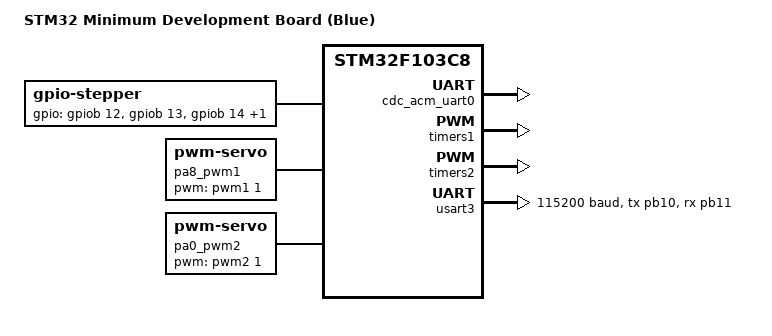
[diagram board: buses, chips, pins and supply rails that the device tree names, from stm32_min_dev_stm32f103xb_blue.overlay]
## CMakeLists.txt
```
# SPDX-License-Identifier: Apache-2.0

cmake_minimum_required(VERSION 3.20.0)
find_package(Zephyr REQUIRED HINTS $ENV{ZEPHYR_BASE})
project(vanchor_motor_driver)

include(${ZEPHYR_BASE}/samples/subsys/usb/common/common.cmake)

FILE(GLOB app_sources src/*.c)
target_sources(app PRIVATE ${app_sources})
```

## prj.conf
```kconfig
CONFIG_STDOUT_CONSOLE=y
CONFIG_USB_DEVICE_STACK=y
CONFIG_USB_DEVICE_PRODUCT="Zephyr CDC ACM sample"
CONFIG_USB_DEVICE_PID=0x0001
CONFIG_LOG=y
CONFIG_USB_DRIVER_LOG_LEVEL_ERR=y
CONFIG_USB_DEVICE_LOG_LEVEL_ERR=y
CONFIG_SERIAL=y
CONFIG_UART_INTERRUPT_DRIVEN=y
CONFIG_UART_LINE_CTRL=y
CONFIG_USB_DEVICE_INITIALIZE_AT_BOOT=n
CONFIG_STDOUT_CONSOLE=y
CONFIG_PWM_LOG_LEVEL_DBG=y
CONFIG_PRINTK=y
CONFIG_PWM=y
CONFIG_STEPPER=y
CONFIG_STEPPER_INIT_PRIORITY=90
CONFIG_GPIO_STEPPER=y
```

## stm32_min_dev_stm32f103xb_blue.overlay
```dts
/*
 * Copyright (c) 2017, embedjournal.com
 *
 * SPDX-License-Identifier: Apache-2.0
 */

/ {
	model = "STM32 Minimum Development Board (Blue)";
	compatible = "stm32_min_dev_blue", "st,stm32f103c8";

	aliases {
		pa8-pwm1 = &pa8_pwm1;
		pa0-pwm2 = &pa0_pwm2;
		stepper = &stepper;
	};

	chosen {
		zephyr,console = &usart3;
		zephyr,shell-uart = &usart3;
	};

	stepper: stepper {
		compatible = "gpio-stepper";
		status = "okay";
		gpios = <&gpiob 12 GPIO_ACTIVE_HIGH>,
			<&gpiob 13 GPIO_ACTIVE_HIGH>,
			<&gpiob 14 GPIO_ACTIVE_HIGH>,
			<&gpiob 15 GPIO_ACTIVE_HIGH>;
	};

	pa8_pwm1: pa8_pwm1 {
		compatible = "pwm-servo";
		pwms = <&pwm1 1 PWM_MSEC(20) PWM_POLARITY_NORMAL>;
		min-pulse = <PWM_USEC(700)>;
		max-pulse = <PWM_USEC(2500)>;
	};

	pa0_pwm2: pa0_pwm2 {
		compatible = "pwm-servo";
		pwms = <&pwm2 1 PWM_MSEC(20) PWM_POLARITY_NORMAL>;
		min-pulse = <PWM_USEC(700)>;
		max-pulse = <PWM_USEC(2500)>;
	};
};

&zephyr_udc0 {
	cdc_acm_uart0 {
		compatible = "zephyr,cdc-acm-uart";
	};
};

&timers1 {
	st,prescaler = <1000>;
	status = "okay";

	pwm1: pwm {
		compatible = "st,stm32-pwm";
		status = "okay";
		pinctrl-0 = <&tim1_ch1_pwm_out_pa8>;
		pinctrl-names = "default";
	};
};

&timers2 {
	st,prescaler = <1000>;
	status = "okay";

	pwm2: pwm {
		compatible = "st,stm32-pwm";
		status = "okay";
		pinctrl-0 = <&tim2_ch1_pwm_out_pa0>;
		pinctrl-names = "default";
	};
};

&usart3 {
	pinctrl-0 = <&usart3_tx_pb10 &usart3_rx_pb11>;
	pinctrl-names = "default";
	current-speed = <115200>;
	status = "okay";
};
```

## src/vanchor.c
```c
/*
 * Copyright (c) 2019 Intel Corporation
 *
 * SPDX-License-Identifier: Apache-2.0
 */

/**
 * @file
 * @brief Sample echo app for CDC ACM class
 *
 * Sample app for USB CDC ACM class driver. The received data is echoed back
 * to the serial port.
 */

#include <sample_usbd.h>

#include <stdio.h>
#include <stdlib.h>
#include <string.h>
#include <stdbool.h>
#include <zephyr/device.h>
#include <zephyr/drivers/pwm.h>
#include <zephyr/drivers/stepper.h>
#include <zephyr/drivers/uart.h>
#include <zephyr/kernel.h>
#include <zephyr/sys/printk.h>
#include <zephyr/sys/ring_buffer.h>

#include <zephyr/usb/usb_device.h>
#include <zephyr/usb/usbd.h>
#include <zephyr/logging/log.h>

#include "vanchor.h"

LOG_MODULE_REGISTER(vanchor, LOG_LEVEL_INF);

/* DC/Stepper motors */
static vanchor_motors_handler_t mot_hdlr;

#if !DT_NODE_HAS_STATUS(DT_ALIAS(stepper), okay)
#error "Unsupported board: pa8_pwm1 devicetree alias is not defined"
#endif
const struct device *const stepper = DEVICE_DT_GET(DT_ALIAS(stepper));

/* Servo motor pwm */
#if !DT_NODE_HAS_STATUS(DT_ALIAS(pa8_pwm1), okay)
#error "Unsupported board: pa8_pwm1 devicetree alias is not defined"
#endif
const struct pwm_dt_spec pa8_pwm1 = PWM_DT_SPEC_GET(DT_ALIAS(pa8_pwm1));
__maybe_unused static const uint32_t pa8_min_pulse = DT_PROP(DT_ALIAS(pa8_pwm1), min_pulse);
__maybe_unused static const uint32_t pa8_max_pulse = DT_PROP(DT_ALIAS(pa8_pwm1), max_pulse);

#if !DT_NODE_HAS_STATUS(DT_ALIAS(pa0_pwm2), okay)
#error "Unsupported board: pa0_pwm2 devicetree alias is not defined"
#endif
const struct pwm_dt_spec pa0_pwm2 = PWM_DT_SPEC_GET(DT_ALIAS(pa0_pwm2));
__maybe_unused static const uint32_t pa0_min_pulse = DT_PROP(DT_ALIAS(pa0_pwm2), min_pulse);
__maybe_unused static const uint32_t pa0_max_pulse = DT_PROP(DT_ALIAS(pa0_pwm2), max_pulse);

#define STEP PWM_USEC(100)

enum direction {
	DOWN,
	UP,
};

/* USB CDC */
#define RING_BUF_SIZE 1024

const struct device *const uart_dev = DEVICE_DT_GET_ONE(zephyr_cdc_acm_uart);

uint8_t ring_buffer[RING_BUF_SIZE];
struct ring_buf ringbuf;

static bool rx_throttled;

/* vanchor cmd type: update, calibration, ping */
vanchor_msg_t msg;

char str_upd[] = "UPD";
char str_cal[] = "CAL";
char str_ping[] = "PING";

static int vanchor_stepper_init(vanchor_motors_handler_t *mot_hdlr)
{
	int ret;

	ret = stepper_set_actual_position(stepper, mot_hdlr->cur_step_pos);
	if (ret) {
		LOG_ERR("Failed to set initial position");
		return ret;
	}

	/* stepper initialized don't do this again */
	mot_hdlr->step_need_init = false;

	return 0;
}

static int vanchor_get_dis2go(vanchor_motors_handler_t *mot_hdlr)
{

	int ret;
	int32_t cur;

	ret = stepper_get_actual_position(stepper, &cur);
	if (ret)
		return ret;

	mot_hdlr->step_dis2go = mot_hdlr->des_step_pos - cur;

	LOG_DBG("Current position (raw): %d", cur);
	LOG_DBG("Desired position (raw): %d", mot_hdlr->des_step_pos);
	LOG_DBG("Distance to go (steps): %d", mot_hdlr->step_dis2go);

	return ret;
}

static void vanchor_log_motors_status(vanchor_motors_handler_t *mot_hdlr,
				      char *buffer, size_t buffer_size)
{
	snprintf(buffer, buffer_size,
		 "STATUS SSP:%d SDTG:%d MS:%d CB:%d CE:%d\r\n",
		 mot_hdlr->des_step_pos,
		 mot_hdlr->step_dis2go,
		 mot_hdlr->des_dc_speed,
		 mot_hdlr->calib_begin,
		 mot_hdlr->calib_end);

	LOG_INF("STATUS SSP:%d SDTG:%d MS:%d CB:%d CE:%d\r\n",
		 mot_hdlr->des_step_pos,
		 mot_hdlr->step_dis2go,
		 mot_hdlr->des_dc_speed,
		 mot_hdlr->calib_begin,
		 mot_hdlr->calib_end);
}

static int vanchor_ping_cmd(vanchor_msg_t *cmd)
{
	LOG_INF("Pong\n");
	return 0;
}

static int vanchor_calibration_cmd(vanchor_msg_t *cmd)
{
	stepper_set_actual_position(stepper, cmd->param1);
	return 0;
}

static int vanchor_update_cmd(vanchor_msg_t *cmd,
			      vanchor_motors_handler_t *mot_hdlr)
{
	int ret;

	mot_hdlr->cur_step_pos = cmd->param1;
	mot_hdlr->cur_step_speed = cmd->param2;
	mot_hdlr->cur_step_acc = cmd->param3;
	mot_hdlr->cur_dc_speed = cmd->param4;
	mot_hdlr->cur_dc_rev = cmd->param5;

	if (mot_hdlr->step_need_init) {
		ret = vanchor_stepper_init(mot_hdlr);
		if (ret)
			return ret;
	}

	ret = vanchor_get_dis2go(mot_hdlr);
	if (ret)
		return ret;

	LOG_INF("UPD CSP:%d CSS:%d CSA:%d CDS:%d CDR:%d\r\n",
		 mot_hdlr->cur_step_pos,
		 mot_hdlr->cur_step_speed,
		 mot_hdlr->cur_step_acc,
		 mot_hdlr->cur_dc_speed,
		 mot_hdlr->cur_dc_rev);

	if (mot_hdlr->des_step_pos != mot_hdlr->cur_step_pos) {
		stepper_move(stepper, mot_hdlr->step_dis2go);
		mot_hdlr->des_step_pos = mot_hdlr->cur_step_pos;
	}

	if (mot_hdlr->des_step_speed != mot_hdlr->cur_step_speed) {
		stepper_set_max_velocity(stepper, mot_hdlr->cur_step_speed);
		mot_hdlr->des_step_speed = mot_hdlr->cur_step_speed;
	}

	if (mot_hdlr->des_step_acc != mot_hdlr->cur_step_acc) {
		/*
		 * set stepper acceleration:
		 * The desired acceleration in steps per second per second.
		 * stepper_set_accelleration(stepper, mot_hdlr->cur_step_acc);
		 */
		mot_hdlr->des_step_acc = mot_hdlr->cur_step_acc;
	}

	if (mot_hdlr->des_dc_speed != mot_hdlr->cur_dc_speed) {
		/* set_dc_motor_speed here */
		mot_hdlr->des_dc_speed = mot_hdlr->cur_dc_speed;
		mot_hdlr->des_dc_rev = mot_hdlr->cur_dc_rev;
	}

	return 0;
}

static bool vanchor_parse_msg(const char *msg_in, vanchor_msg_t *cmd)
{
	int ret;
	int msg_type = VANCHOR_NONE;

	ret = sscanf(msg_in, "%3s %d %d %d %d %d",
		     cmd->type, &cmd->param1, &cmd->param2,
		     &cmd->param3, &cmd->param4, &cmd->param5) == 6;

	/* check cmd type: update, calibration, ping*/
	if (strcmp(cmd->type, str_upd) == 0)
		msg_type = VANCHOR_UPD;
	else if (strcmp(cmd->type, str_cal) == 0)
		msg_type = VANCHOR_CAL;
	else if (strcmp(cmd->type, str_cal) == 0)
		msg_type = VANCHOR_PING;

	switch (msg_type) {
	case VANCHOR_UPD:
		vanchor_update_cmd(cmd, &mot_hdlr);
		break;
	case VANCHOR_CAL:
		vanchor_calibration_cmd(cmd);
		break;
	case VANCHOR_PING:
		vanchor_ping_cmd(cmd);
		break;
	default:
		break;
	}

	return ret;
}

/* usb cdc irq handler*/
static void irq_handler(const struct device *dev, void *user_data)
{
	ARG_UNUSED(user_data);
	char log_buffer[128];

	while (uart_irq_update(dev) && uart_irq_is_pending(dev)) {
		if (!rx_throttled && uart_irq_rx_ready(dev)) {
			int recv_len, rb_len;
			uint8_t buffer[64];
			size_t len = MIN(ring_buf_space_get(&ringbuf),
					 sizeof(buffer));

			if (len == 0) {
				/* Throttle because ring buffer is full */
				uart_irq_rx_disable(dev);
				rx_throttled = true;
				continue;
			}

			recv_len = uart_fifo_read(dev, buffer, len);
			if (recv_len < 0) {
				LOG_ERR("Failed to read UART FIFO");
				recv_len = 0;
			};

			if (vanchor_parse_msg((char *)buffer, &msg)) {
				/* msg parsed */
			} else {
				LOG_ERR("Failed to parse motor command");
			}

			/* Log the motor status */
			vanchor_log_motors_status(&mot_hdlr, log_buffer, sizeof(log_buffer));

			/* Put the log buffer into the ring buffer for transmission */
			rb_len = ring_buf_put(&ringbuf, (uint8_t *)log_buffer, strlen(log_buffer));
			if (rb_len < strlen(log_buffer)) {
			LOG_ERR("Drop %u bytes", strlen(log_buffer) - rb_len);
			}

			LOG_DBG("tty fifo -> ringbuf %d bytes", rb_len);
			if (rb_len) {
				uart_irq_tx_enable(dev);
			}
		}

		if (uart_irq_tx_ready(dev)) {
			uint8_t buffer[64];
			int rb_len, send_len;

			rb_len = ring_buf_get(&ringbuf, buffer, sizeof(buffer));
			if (!rb_len) {
				LOG_DBG("Ring buffer empty, disable TX IRQ");
				uart_irq_tx_disable(dev);
				continue;
			}

			if (rx_throttled) {
				uart_irq_rx_enable(dev);
				rx_throttled = false;
			}

			send_len = uart_fifo_fill(dev, buffer, rb_len);
			if (send_len < rb_len) {
				LOG_ERR("Drop %d bytes", rb_len - send_len);
			}

			LOG_DBG("ringbuf -> tty fifo %d bytes", send_len);
		}
	}
}

static int vanchor_motors_hdlr_init(void)
{
	mot_hdlr.step_need_init = true;
	mot_hdlr.step_dis2go = 0;
	mot_hdlr.des_step_pos = 0;
	mot_hdlr.des_step_speed = 0;
	mot_hdlr.des_step_acc = 0;
	mot_hdlr.des_dc_speed = 0;
	mot_hdlr.des_dc_rev = 0;
	mot_hdlr.cur_step_pos = 0;
	mot_hdlr.cur_step_speed = 0;
	mot_hdlr.cur_step_acc = 0;
	mot_hdlr.cur_dc_speed = 0;
	mot_hdlr.cur_dc_rev = 0;
	mot_hdlr.calib_begin = 0;
	mot_hdlr.calib_end = 0;

	return 0;
}

static int vanchor_usb_irq_init(void)
{
	int ret;

	ring_buf_init(&ringbuf, sizeof(ring_buffer), ring_buffer);
	LOG_INF("Wait for DTR");

	while (true) {
		uint32_t dtr = 0U;

		uart_line_ctrl_get(uart_dev, UART_LINE_CTRL_DTR, &dtr);
		if (dtr) {
			break;
		} else {
			/* Give CPU resources to low priority threads. */
			k_sleep(K_MSEC(100));
		}
	}
	LOG_INF("DTR set");

	/* They are optional, we use them to test the interrupt endpoint */
	ret = uart_line_ctrl_set(uart_dev, UART_LINE_CTRL_DCD, 1);
	if (ret) {
		LOG_WRN("Failed to set DCD, ret code %d", ret);
	}

	ret = uart_line_ctrl_set(uart_dev, UART_LINE_CTRL_DSR, 1);
	if (ret) {
		LOG_WRN("Failed to set DSR, ret code %d", ret);
	}

	/* Wait 100ms for the host to do all settings */
	k_msleep(100);

	uart_irq_callback_set(uart_dev, irq_handler);

	/* Enable rx interrupts */
	uart_irq_rx_enable(uart_dev);

	return ret;
}

static int vanchor_pwm_init(void)
{
	uint32_t pa8_pulse_w = pa8_min_pulse;
	uint32_t pa0_pulse_w = pa0_min_pulse;
	int ret;

	ret = pwm_set_pulse_dt(&pa8_pwm1, pa8_pulse_w);
	if (ret < 0) {
		printk("Error %d: failed to set pulse width\n", ret);
		return ret;
	}

	ret = pwm_set_pulse_dt(&pa0_pwm2, pa0_pulse_w);
	if (ret < 0) {
		printk("Error %d: failed to set pulse width\n", ret);
		return ret;
	}

	return 0;
}

static int vanchor_dt_check(void)
{
	if (!device_is_ready(uart_dev)) {
		LOG_ERR("CDC ACM device not ready");
		return -ENODEV;;
	}

	if (!device_is_ready(stepper)) {
		LOG_ERR("stepper device not ready");
		return -ENODEV;;
	}

	if (!pwm_is_ready_dt(&pa8_pwm1)) {
		LOG_ERR("Error: pa8_pwm1 device %s is not ready\n",
			pa8_pwm1.dev->name);
		return -ENODEV;;
	}

	if (!pwm_is_ready_dt(&pa0_pwm2)) {
		LOG_ERR("Error: pa0_pwm2 device %s is not ready\n",
			pa0_pwm2.dev->name);
		return -ENODEV;;
	}

	return 0;
}

int main(void)
{
	int ret;

	ret = vanchor_dt_check();
	if (ret) {
		LOG_ERR("Error %d: vanchor_dt_check\n", ret);
		return ret;
	}

	ret = vanchor_pwm_init();
	if (ret) {
		LOG_ERR("Error %d: vanchor_pwm_init\n", ret);
		return ret;
	}

	ret = usb_enable(NULL);
	if (ret != 0) {
		LOG_ERR("Failed to enable USB");
		return 0;
	}

	ret = vanchor_usb_irq_init();
	if (ret) {
		LOG_ERR("Error %d: vanchor_usb_irq_init\n", ret);
		return ret;
	}

	ret = vanchor_motors_hdlr_init();
	if (ret) {
		LOG_ERR("Error %d: vanchor_motors_hdlr_init\n", ret);
		return ret;
	}

	return 0;
}
```

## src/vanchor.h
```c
typedef struct {
	char type[4];
	int param1;
	int param2;
	int param3;
	int param4;
	int param5;
} vanchor_msg_t;

enum vanchor_cmd_type {
	VANCHOR_NONE = -1,
	VANCHOR_UPD = 0,
	VANCHOR_CAL,
	VANCHOR_PING,
	VANCHOR_NUM_TYPE
};

typedef struct {
	bool step_need_init;

	/*
	 * The distance
	 * from the current position
	 * to the target position.
	 */
	int32_t step_dis2go;

	/* desired stepper motor values */
	int32_t des_step_pos;
	int32_t des_step_speed;
	int32_t des_step_acc;

	/* desired dc motor values */
	int32_t des_dc_speed;
	bool des_dc_rev;

	/* current stepper motor values */
	int32_t cur_step_pos;
	int32_t cur_step_speed;
	int32_t cur_step_acc;

	/* current dc motor values */
	int32_t cur_dc_speed;
	bool cur_dc_rev;

	/* calibration */
	int32_t calib_begin;
	int32_t calib_end;

} vanchor_motors_handler_t;
```
